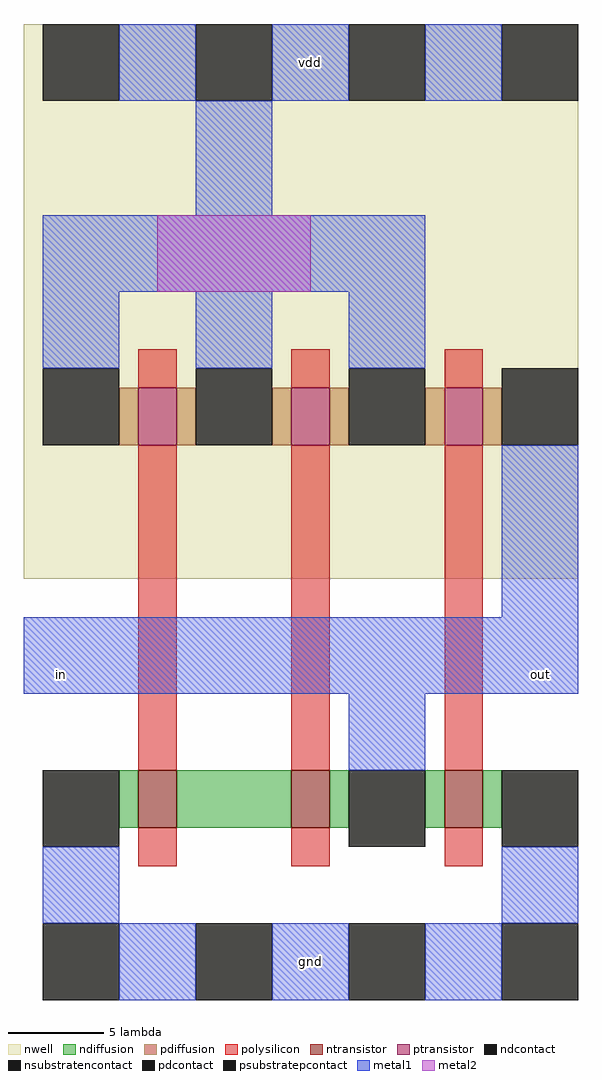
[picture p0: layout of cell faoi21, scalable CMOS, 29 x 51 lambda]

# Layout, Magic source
magic
tech scmos
<< nwell >>
rect -8 7 21 36
<< polysilicon >>
rect -2 17 0 19
rect 6 17 8 19
rect 14 17 16 19
rect -2 -3 0 14
rect 6 -3 8 14
rect 14 -3 16 14
rect -2 -8 0 -6
rect 6 -8 8 -6
rect 14 -8 16 -6
<< ndiffusion >>
rect -3 -6 -2 -3
rect 0 -6 6 -3
rect 8 -6 9 -3
rect 13 -6 14 -3
rect 16 -6 17 -3
<< pdiffusion >>
rect -3 14 -2 17
rect 0 14 1 17
rect 5 14 6 17
rect 8 14 9 17
rect 13 14 14 17
rect 16 14 17 17
<< metal1 >>
rect -3 32 1 36
rect 5 32 9 36
rect 13 32 17 36
rect 1 26 5 32
rect -7 22 13 26
rect -7 18 -3 22
rect 1 18 5 22
rect 9 18 13 22
rect 17 5 21 14
rect -8 1 21 5
rect 9 -3 13 1
rect -7 -11 -3 -7
rect 17 -11 21 -7
rect -3 -15 1 -11
rect 5 -15 9 -11
rect 13 -15 17 -11
<< metal2 >>
rect -1 22 7 26
<< ntransistor >>
rect -2 -6 0 -3
rect 6 -6 8 -3
rect 14 -6 16 -3
<< ptransistor >>
rect -2 14 0 17
rect 6 14 8 17
rect 14 14 16 17
<< ndcontact >>
rect -7 -7 -3 -3
rect 9 -7 13 -3
rect 17 -7 21 -3
<< pdcontact >>
rect -7 14 -3 18
rect 1 14 5 18
rect 9 14 13 18
rect 17 14 21 18
<< psubstratepcontact >>
rect -7 -15 -3 -11
rect 1 -15 5 -11
rect 9 -15 13 -11
rect 17 -15 21 -11
<< nsubstratencontact >>
rect -7 32 -3 36
rect 1 32 5 36
rect 9 32 13 36
rect 17 32 21 36
<< labels >>
rlabel metal1 17 2 21 2 7 out
rlabel metal1 -8 2 -4 2 3 in
rlabel nwell -7 32 21 36 1 vdd
rlabel metal1 -7 -15 21 -11 5 gnd
<< end >>
